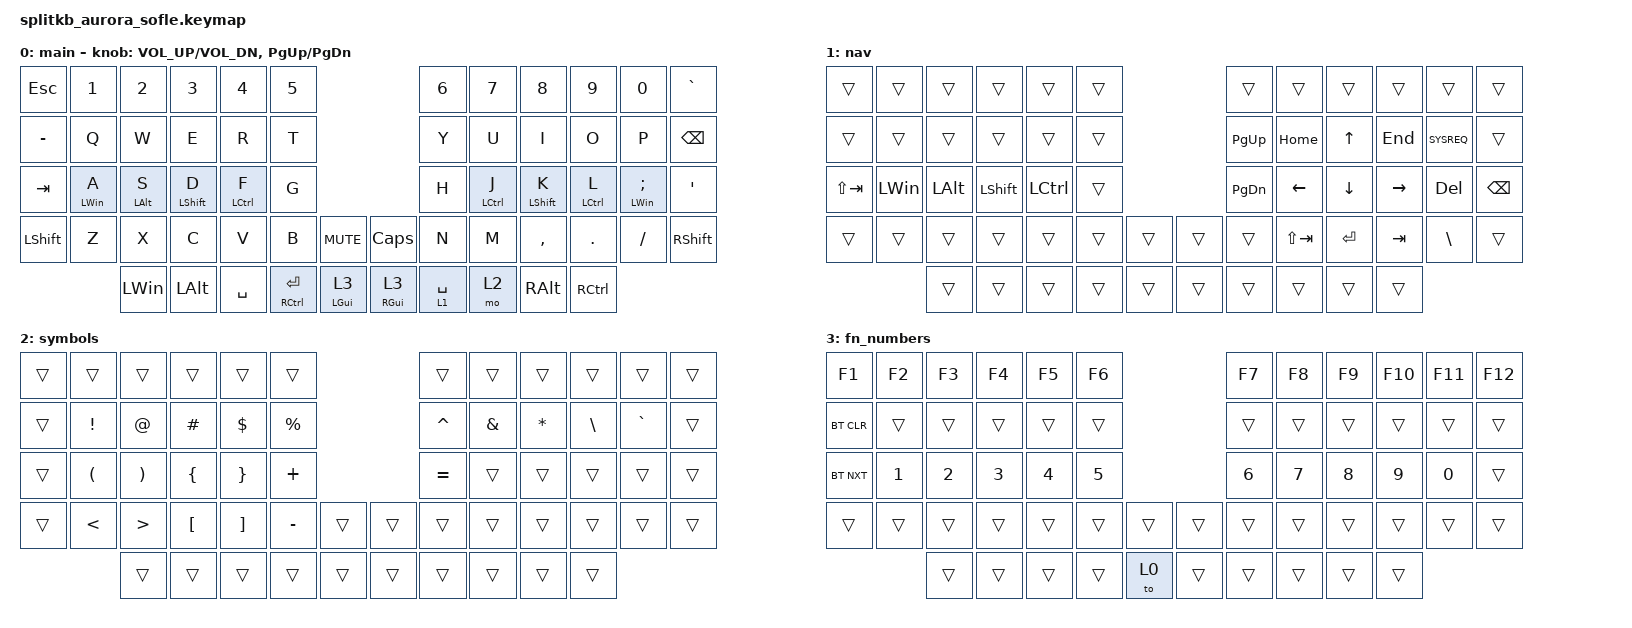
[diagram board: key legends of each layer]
/*
 * Copyright (c) 2023 The ZMK Contributors
 *
 * SPDX-License-Identifier: MIT
 */

#include <behaviors.dtsi>
#include <dt-bindings/zmk/bt.h>
#include <dt-bindings/zmk/keys.h>

&led_strip {
    chain-length = <35>; // Uncomment if using both per-key and underglow LEDs
    // chain-length = <29>; // Uncomment if using only per-key LEDs.
};
&sensors { triggers-per-rotation = <28>; };

/ {
    behaviors {
        kp2mo: kp2mo {
            compatible = "zmk,behavior-hold-tap";
            bindings = <&mo>, <&kp>;

            #binding-cells = <2>;
            flavor = "balanced";
            tapping-term-ms = <200>;
            quick-tap-ms = <150>;
        };

        enhe_doubleclick: enhe_doubleclick {
            compatible = "zmk,behavior-tap-dance";
            #binding-cells = <0>;
            tapping-term-ms = <200>;
            bindings = <&kp N>, <&kp RA(N)>;
        };

        to2kp: to2kp {
            compatible = "zmk,behavior-hold-tap";
            bindings = <&kp>, <&to>;

            #binding-cells = <2>;
            flavor = "balanced";
            tapping-term-ms = <200>;
            quick-tap-ms = <150>;
            label = "TO2KP";
            hold-while-undecided;
        };

        homeRow_behavior: homeRow_behavior {
            compatible = "zmk,behavior-hold-tap";
            label = "HOMEROW_BEHAVIOR";
            bindings = <&kp>, <&kp>;

            #binding-cells = <2>;
            flavor = "tap-preferred";
            tapping-term-ms = <300>;
            quick-tap-ms = <200>;
            retro-tap;
        };
    };

    combos { compatible = "zmk,combos"; };

    keymap {
        compatible = "zmk,keymap";

        main {
            bindings = <
&kp ESC    &kp N1                        &kp N2                        &kp N3                      &kp N4                     &kp N5                                                    &kp N6          &kp N7                     &kp N8                      &kp N9                     &kp N0                           &kp GRAVE
&kp MINUS  &kp Q                         &kp W                         &kp E                       &kp R                      &kp T                                                     &kp Y           &kp U                      &kp I                       &kp O                      &kp P                            &kp BSPC
&kp TAB    &homeRow_behavior LEFT_WIN A  &homeRow_behavior LEFT_ALT S  &homeRow_behavior LSHIFT D  &homeRow_behavior LCTRL F  &kp G                                                     &kp H           &homeRow_behavior LCTRL J  &homeRow_behavior LSHIFT K  &homeRow_behavior LCTRL L  &homeRow_behavior LEFT_WIN SEMI  &kp SQT
&kp LSHFT  &kp Z                         &kp X                         &kp C                       &kp V                      &kp B            &kp C_MUTE           &kp CAPSLOCK        &kp N           &kp M                      &kp COMMA                   &kp DOT                    &kp FSLH                         &kp RSHFT
                                         &kp LEFT_WIN                  &kp LALT                    &kp SPACE                  &mt RCTRL ENTER  &to2kp LEFT_GUI 3    &to2kp RIGHT_GUI 3  &kp2mo 1 SPACE  &mo 2                      &kp RALT                    &kp RCTRL
            >;

            sensor-bindings =
                <&inc_dec_kp C_VOL_UP C_VOL_DN>,
                <&inc_dec_kp PAGE_UP PAGE_DOWN>;
        };

        nav {
            bindings = <
&trans       &trans        &trans        &trans      &trans     &trans                    &trans     &trans       &trans     &trans     &trans         &trans
&trans       &trans        &trans        &trans      &trans     &trans                    &kp PG_UP  &kp HOME     &kp UP     &kp END    &kp SYSREQ     &trans
&kp LS(TAB)  &kp LEFT_WIN  &kp LEFT_ALT  &kp LSHIFT  &kp LCTRL  &trans                    &kp PG_DN  &kp LEFT     &kp DOWN   &kp RIGHT  &kp DEL        &kp BSPC
&trans       &trans        &trans        &trans      &trans     &trans  &trans    &trans  &trans     &kp LS(TAB)  &kp ENTER  &kp TAB    &kp BACKSLASH  &trans
                           &trans        &trans      &trans     &trans  &trans    &trans  &trans     &trans       &trans     &trans
            >;
        };

        symbols {
            bindings = <
&trans  &trans                &trans                 &trans            &trans             &trans                         &trans     &trans         &trans        &trans         &trans     &trans
&trans  &kp EXCL              &kp AT                 &kp HASH          &kp DOLLAR         &kp PERCENT                    &kp CARET  &kp AMPERSAND  &kp ASTERISK  &kp BACKSLASH  &kp GRAVE  &trans
&trans  &kp LEFT_PARENTHESIS  &kp RIGHT_PARENTHESIS  &kp LEFT_BRACE    &kp RIGHT_BRACE    &kp PLUS                       &kp EQUAL  &trans         &trans        &trans         &trans     &trans
&trans  &kp LESS_THAN         &kp GREATER_THAN       &kp LEFT_BRACKET  &kp RIGHT_BRACKET  &kp MINUS    &trans    &trans  &trans     &trans         &trans        &trans         &trans     &trans
                              &trans                 &trans            &trans             &trans       &trans    &trans  &trans     &trans         &trans        &trans
            >;
        };

        fn_numbers {
            bindings = <
&kp F1      &kp F2  &kp F3  &kp F4  &kp F5  &kp F6                    &kp F7  &kp F8  &kp F9  &kp F10  &kp F11  &kp F12
&bt BT_CLR  &trans  &trans  &trans  &trans  &trans                    &trans  &trans  &trans  &trans   &trans   &trans
&bt BT_NXT  &kp N1  &kp N2  &kp N3  &kp N4  &kp N5                    &kp N6  &kp N7  &kp N8  &kp N9   &kp N0   &trans
&trans      &trans  &trans  &trans  &trans  &trans  &trans    &trans  &trans  &trans  &trans  &trans   &trans   &trans
                    &trans  &trans  &trans  &trans  &to 0     &trans  &trans  &trans  &trans  &trans
            >;
        };
    };
};
